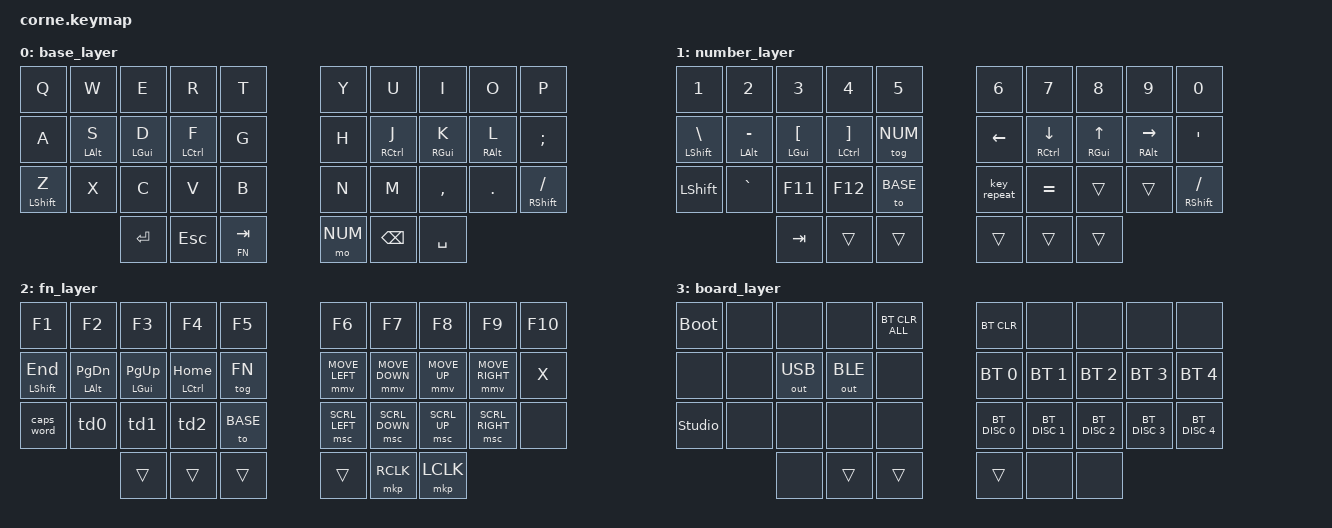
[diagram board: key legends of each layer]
#include <dt-bindings/zmk/keys.h>
#include <dt-bindings/zmk/outputs.h>
#include <dt-bindings/zmk/bt.h>
#include <dt-bindings/zmk/pointing.h>

#include <behaviors.dtsi>

#include "zmk-helpers/helper.h"
#include "keys/36.h"

// global
#define QUICK_TAP_MS 150
#define TAPPING_TERM_MS 200
#define PRIOR_IDLE_MS 150

// layers
#define BASE 0
#define NUM 1
#define FN 2
#define BOARD 3

// redefined keycodes
#define _LWIN_    &kp LEFT_WIN
#define _RALT_    &kp RIGHT_ALT
#define _RET_     &kp RETURN
#define _CUT_     &kp LG(X)
#define _COPY_    &kp LG(C)
#define _PASTE_   &kp LG(V)

#define _MO_NUM_ &mo NUMBER

#define OUTTOG   &out OUT_TOG // toggle keyboard output bluetooth/usb
#define ___      &trans      //  transparent
#define _x_      &none

#define MEH LC(LS(LALT))

// tap: sticky-shift | shift + tap/ double-tap: caps-word | hold: shift
// ZMK_MOD_MORPH(smart_shift,
//     bindings = <&sk LSHFT>, <&caps_word>;
//     mods = <(MOD_LSFT)>;
// )

/* left-hand HRMs */
ZMK_BEHAVIOR(hml, hold_tap,
    flavor = "balanced";
    tapping-term-ms = <TAPPING_TERM_MS>;
    quick-tap-ms = <QUICK_TAP_MS>;
    require-prior-idle-ms = <PRIOR_IDLE_MS>;
    bindings = <&kp>, <&kp>;
    hold-trigger-on-release;
)

/* right-hand HRMs */
ZMK_BEHAVIOR(hmr, hold_tap,
    flavor = "balanced";
    tapping-term-ms = <TAPPING_TERM_MS>;
    quick-tap-ms = <QUICK_TAP_MS>;
    require-prior-idle-ms = <PRIOR_IDLE_MS>;
    bindings = <&kp>, <&kp>;
    hold-trigger-on-release;
)

/* left-hand HRM shift */
ZMK_BEHAVIOR(hml_s, hold_tap,
    flavor = "hold-preferred";
    tapping-term-ms = <125>;
    //quick-tap-ms = <125>;                // repeat on tap-into-hold
//    require-prior-idle-ms = <100>;         // requires PR #1387
    bindings = <&kp>, <&kp>;
    //hold-trigger-key-positions = <LEFT_KEYS THUMB_KEYS>;
    // hold-trigger-on-release;             // delay positional check until key-release
)

/* right-hand HRM shift */
ZMK_BEHAVIOR(hmr_s, hold_tap,
    flavor = "hold-preferred";
    tapping-term-ms = <125>;
    //quick-tap-ms = <125>;                // repeat on tap-into-hold
//    require-prior-idle-ms = <100>;         // requires PR #1387
    bindings = <&kp>, <&kp>;
    //hold-trigger-key-positions = <RIGHT_KEYS THUMB_KEYS>;
    // hold-trigger-on-release;             // delay positional check until key-release
)


/ {
  chosen {
    zmk,matrix_transform = &five_column_transform;
  };
};
/ {
  combos {
      compatible = "zmk,combos";
//      iu_backspace_combo {
//        timeout-ms = <50>; // Adjust as needed
//        bindings = <&kp COLON>; // Action: Backspace
//        key-positions = <16 17>;
//        layers = < BASE >;
//      };
//      jk_colon_combo {
//        timeout-ms = <50>; // Adjust as needed
//        bindings = <&smart_shift>; // Action: Backspace
//        key-positions = <12 13>;
//        layers = < BASE >;
//      };

  };
  behaviors {
    hm: homerow_mods {
      compatible = "zmk,behavior-hold-tap";
      flavor = "balanced";
      tapping-term-ms = <280>;
      quick-tap-ms = <QUICK_TAP_MS>;
      bindings = <&kp>, <&kp>;
      // label = "HOMEROW_MODS";
      #binding-cells = <2>;
      // hold-trigger-key-positions = <TRIGGER_POS>;
      hold-trigger-on-release;

    };
    SBD: S_BSPC_DEL {
      compatible = "zmk,behavior-mod-morph";
      #binding-cells = <0>;
      bindings = <&kp BSPC>, <&kp DEL>;
      mods = <(MOD_LSFT|MOD_RSFT)>;
    };
    oneshot_esc: oneshot {
      compatible = "zmk,behavior-oneshot";
      label = "OneShot ESC";
      #binding-cells = <0>;
    };
    td0: tap_dance_0 {
       compatible = "zmk,behavior-tap-dance";
       #binding-cells = <0>;
       tapping-term-ms = <200>;
       bindings = <&kp C_VOL_DN>, <&kp C_PREV>;
    };
    td1: tap_dance_1 {
       compatible = "zmk,behavior-tap-dance";
       #binding-cells = <0>;
       tapping-term-ms = <200>;
       bindings = <&kp C_MUTE>, <&kp C_PP>;
    };
    td2: tap_dance_2 {
       compatible = "zmk,behavior-tap-dance";
       #binding-cells = <0>;
       tapping-term-ms = <200>;
       bindings = <&kp C_VOL_UP>, <&kp C_NEXT>;
    };
  };
  conditional_layers {
    compatible = "zmk,conditional-layers";
    tri_layer {
      if-layers = <1 2>;
      then-layer = <3>;
    };
  };
};

/ {
  keymap {
    compatible = "zmk,keymap";

    base_layer {
      bindings = <
        // |---------------|--------------|-------------|--------------|-------------|   |-----------|--------------|-------------|--------------|------------------|
        // |     Q         |      W       |     E       |      R       |     T       |   |     Y     |      U       |     I       |     O        |         P        |
              &kp Q            &kp W          &kp E         &kp R         &kp T             &kp Y       &kp U         &kp I          &kp O              &kp P
        // |---------------|--------------|-------------|--------------|-------------|   |-----------|--------------|-------------|--------------|------------------|
        // |     A         |      S       |     D       |      F       |     G       |   |     H     |      J       |     K       |     L        |         ;        |
                &kp A         &hml LALT S   &hml LGUI D  &hml LCTRL F    &kp G             &kp H      &hmr RCTRL J   &hmr RGUI K    &hmr RALT L         &kp SEMI
        // |---------------|--------------|-------------|--------------|-------------|   |-----------|--------------|-------------|--------------|------------------|
        // |     Z         |      X       |     C       |      V       |     B       |   |     N     |      M       |     ,       |     .        |         /        |
             &hml LSHIFT Z      &kp X         &kp C          &kp V         &kp B             &kp N        &kp M         &kp COMMA     &kp DOT      &hmr RSHIFT FSLH
        // |---------------|--------------|-------------|--------------|-------------|   |-----------|--------------|-------------|--------------|------------------|
                                             &kp RETURN     &kp ESC       &lt FN TAB         &mo NUM     &kp BSPC       &kp SPACE
        //                                |-------------|--------------|-------------|   |-----------|--------------|-------------|
      >;
    };

    number_layer {
      bindings = <
        // |---------------|---------------|---------------|----------------|-------------|   |-----------|----------------|-------------|---------------|-----------------|
        // |      1        |        2      |       3       |       4        |     5       |   |     6     |      7         |     8       |       9       |         0       |
               &kp N1            &kp N2         &kp N3          &kp N4         &kp N5            &kp N6       &kp N7           &kp N8          &kp N9            &kp N0
        // |---------------|---------------|---------------|----------------|-------------|   |-----------|----------------|-------------|---------------|-----------------|
        // |      \        |        -      |      [        |       ]        | Lock Layer  |   |    Left   |      Down      |      Up     |     Right     |        '        |
            &hml LSHIFT BSLH &hml LALT MINUS &hml LGUI LBKT &hml LCTRL RBKT    &tog NUM         &kp LEFT   &hmr RCTRL DOWN &hmr RGUI UP   &hmr RALT RIGHT  &kp APOS
        // |---------------|---------------|---------------|----------------|-------------|   |-----------|----------------|-------------|---------------|-----------------|
        // |    shift      |        `      | Search / F11  |  Dock / F12    |    BASE     |   |   Repeat  |      =         |             |               |        /        |
              &kp LSHIFT      &kp GRAVE       &kp F11          &kp F12         &to BASE        &key_repeat    &kp EQUAL          ___            ___        &mt RSHIFT FSLH
        // |---------------|---------------|---------------|----------------|-------------|   |-----------|----------------|-------------|---------------|-----------------|
                                                &kp TAB           ___            ___               ___           ___             ___
        //                                 |---------------|----------------|-------------|   |-----------|----------------|-------------|
      >;
    };

    fn_layer {
      bindings = <
        // |---------------|---------------|----------------|----------------|-------------|   |--------------|---------------|------------|---------------|-----------------|
        // |     F1        |       F2      |      F3        |      F4        |    F5       |   |     F6       |     F7        |    F8      |      F9       |       F10       |
               &kp F1            &kp F2         &kp F3           &kp F4         &kp F5             &kp F6         &kp F7        &kp F8          &kp F9           &kp F10
        // |---------------|---------------|----------------|----------------|-------------|   |--------------|---------------|------------|---------------|-----------------|
        // |     End       |      PgUp     |     PgDn       |     Home       | Lock Layer  |   | Mouse Left   |  Mouse Down   |  Mouse Up  |  Mouse Right  |                 |
            &hml LSHIFT END &hml LALT PG_DN &hml LGUI PG_UP  &hml LCTRL HOME    &tog FN         &mmv MOVE_LEFT &mmv MOVE_DOWN  &mmv MOVE_UP &mmv MOVE_RIGHT     &kp X
        // |---------------|---------------|----------------|----------------|-------------|   |--------------|---------------|------------|---------------|-----------------|
        // |   caps word   |    Vol-;Prev  |   Mute;Play    |   Vol+;FF      |    BASE     |   |              |               |            |               |                 |
              &caps_word          &td0           &td1             &td2          &to BASE         &msc SCRL_LEFT &msc SCRL_DOWN  &msc SCRL_UP &msc SCRL_RIGHT     _x_
        // |---------------|---------------|----------------|----------------|-------------|   |--------------|---------------|------------|---------------|-----------------|
                                                  ___              ___            ___                 ___         &mkp RCLK     &mkp LCLK
        //                                 |----------------|----------------|-------------|   |--------------|---------------|------------|
      >;

    };

    board_layer {
      bindings = <
        // |---------------|---------------|--------------|---------------|-------------|   |------------|---------------|------------|---------------|-----------------|
              &bootloader         _x_            _x_            _x_        &bt BT_CLR_ALL     &bt BT_CLR       _x_            _x_            _x_              _x_
        // |---------------|---------------|--------------|---------------|-------------|   |------------|---------------|------------|---------------|-----------------|
                  _x_             _x_        &out OUT_USB   &out OUT_BLE        _x_          &bt BT_SEL 0 &bt BT_SEL 1    &bt BT_SEL 2 &bt BT_SEL 3      &bt BT_SEL 4
        // |---------------|---------------|--------------|---------------|-------------|   |------------|---------------|------------|---------------|-----------------|
             &studio_unlock       _x_            _x_            _x_             _x_          &bt BT_DISC 0 &bt BT_DISC 1  &bt BT_DISC 2 &bt BT_DISC 3   &bt BT_DISC 4
        // |---------------|---------------|--------------|---------------|-------------|   |------------|---------------|------------|---------------|-----------------|
                                                 _x_            ___              ___              ___          _x_           _x_
        //                                 |--------------|---------------|-------------|   |------------|---------------|------------|
      >;

    };

  };
};


// vim:ft=cpp
